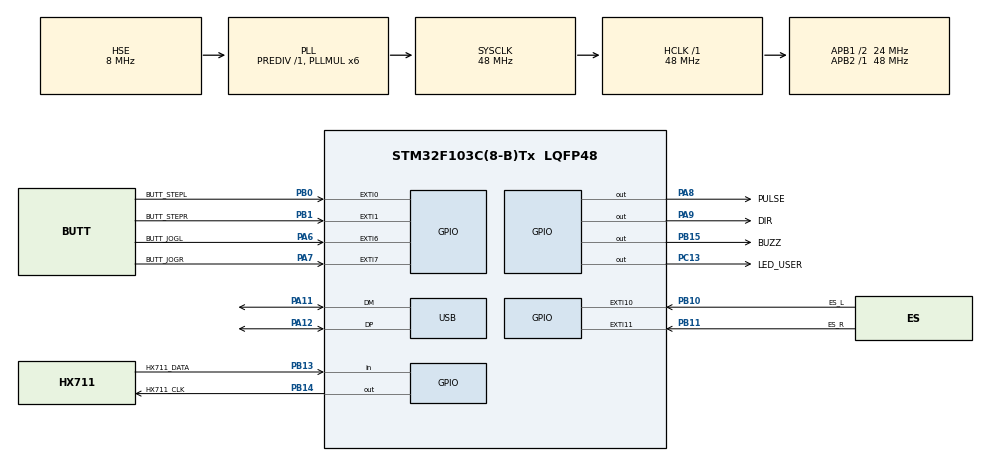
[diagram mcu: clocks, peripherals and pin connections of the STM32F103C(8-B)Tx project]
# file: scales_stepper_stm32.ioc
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Mcu.Family=STM32F1
Mcu.Name=STM32F103C(8-B)Tx
Mcu.Package=LQFP48
NVIC.EXTI0_IRQn=true\:10\:0\:true\:false\:true\:true\:true\:true
NVIC.EXTI15_10_IRQn=true\:5\:0\:true\:false\:true\:true\:true\:true
NVIC.EXTI1_IRQn=true\:10\:0\:true\:false\:true\:true\:true\:true
NVIC.EXTI9_5_IRQn=true\:15\:0\:true\:false\:true\:true\:true\:true
NVIC.PriorityGroup=NVIC_PRIORITYGROUP_4
NVIC.TIM1_UP_IRQn=true\:6\:0\:true\:false\:true\:true\:true\:true
NVIC.TIM3_IRQn=true\:1\:0\:true\:false\:true\:true\:true\:true
NVIC.USB_HP_CAN1_TX_IRQn=true\:0\:0\:true\:false\:true\:true\:true\:true
NVIC.USB_LP_CAN1_RX0_IRQn=true\:0\:0\:false\:false\:true\:false\:true\:true
PA11.Mode=Device
PA11.Signal=USB_DM
PA12.Mode=Device
PA12.Signal=USB_DP
PA13.Mode=Serial_Wire
PA13.Signal=SYS_JTMS-SWDIO
PA14.Mode=Serial_Wire
PA14.Signal=SYS_JTCK-SWCLK
PA6.GPIO_Label=BUTT_JOGL
PA6.GPIO_ModeDefaultEXTI=GPIO_MODE_IT_RISING_FALLING
PA6.GPIO_PuPd=GPIO_PULLUP
PA6.Signal=GPXTI6
PA7.GPIO_Label=BUTT_JOGR
PA7.GPIO_ModeDefaultEXTI=GPIO_MODE_IT_RISING_FALLING
PA7.GPIO_PuPd=GPIO_PULLUP
PA7.Signal=GPXTI7
PA8.GPIO_Label=PULSE
PA8.PinState=GPIO_PIN_SET
PA8.Signal=GPIO_Output
PA9.GPIO_Label=DIR
PA9.PinState=GPIO_PIN_SET
PA9.Signal=GPIO_Output
PB0.GPIO_Label=BUTT_STEPL
PB0.GPIO_ModeDefaultEXTI=GPIO_MODE_IT_FALLING
PB0.GPIO_PuPd=GPIO_PULLUP
PB0.Signal=GPXTI0
PB1.GPIO_Label=BUTT_STEPR
PB1.GPIO_ModeDefaultEXTI=GPIO_MODE_IT_FALLING
PB1.GPIO_PuPd=GPIO_PULLUP
PB1.Signal=GPXTI1
PB10.GPIO_Label=ES_L
PB10.GPIO_ModeDefaultEXTI=GPIO_MODE_IT_RISING_FALLING
PB10.GPIO_PuPd=GPIO_PULLUP
PB10.Signal=GPXTI10
PB11.GPIO_Label=ES_R
PB11.GPIO_ModeDefaultEXTI=GPIO_MODE_IT_RISING_FALLING
PB11.GPIO_PuPd=GPIO_PULLUP
PB11.Signal=GPXTI11
PB13.GPIO_Label=HX711_DATA
PB13.GPIO_PuPd=GPIO_PULLUP
PB13.Signal=GPIO_Input
PB14.GPIO_Label=HX711_CLK
PB14.Signal=GPIO_Output
PB15.GPIO_Label=BUZZ
PB15.PinState=GPIO_PIN_SET
PB15.Signal=GPIO_Output
PC13-TAMPER-RTC.GPIO_Label=LED_USER
PC13-TAMPER-RTC.Signal=GPIO_Output
PC14-OSC32_IN.Mode=LSE-External-Oscillator
PC14-OSC32_IN.Signal=RCC_OSC32_IN
PC15-OSC32_OUT.Mode=LSE-External-Oscillator
PC15-OSC32_OUT.Signal=RCC_OSC32_OUT
PD0-OSC_IN.Mode=HSE-External-Oscillator
PD0-OSC_IN.Signal=RCC_OSC_IN
PD1-OSC_OUT.Mode=HSE-External-Oscillator
PD1-OSC_OUT.Signal=RCC_OSC_OUT
ProjectManager.HeapSize=0x200
ProjectManager.StackSize=0x400
ProjectManager.TargetToolchain=Makefile
RCC.AHBFreq_Value=48000000
RCC.APB1CLKDivider=RCC_HCLK_DIV2
RCC.APB1Freq_Value=24000000
RCC.APB1TimFreq_Value=48000000
RCC.APB2Freq_Value=48000000
RCC.APB2TimFreq_Value=48000000
RCC.HCLKFreq_Value=48000000
RCC.PLLMUL=RCC_PLL_MUL6
RCC.SYSCLKFreq_VALUE=48000000
RCC.SYSCLKSource=RCC_SYSCLKSOURCE_PLLCLK
RCC.USBFreq_Value=48000000
TIM1.ClockDivision=TIM_CLOCKDIVISION_DIV4
TIM1.Period=65535
TIM1.Prescaler=47999
TIM1.TIM_MasterOutputTrigger=TIM_TRGO_UPDATE
TIM2.AutoReloadPreload=TIM_AUTORELOAD_PRELOAD_DISABLE
TIM2.Prescaler=47
TIM2.TIM_MasterOutputTrigger=TIM_TRGO_UPDATE
TIM3.ClockDivision=TIM_CLOCKDIVISION_DIV1
TIM3.Period=100
TIM3.Prescaler=47999
TIM3.TIM_MasterOutputTrigger=TIM_TRGO_UPDATE
USB_DEVICE.APP_RX_DATA_SIZE=128
USB_DEVICE.APP_TX_DATA_SIZE=128
USB_DEVICE.CLASS_NAME_FS=CDC
USB_DEVICE.VirtualMode=Cdc
USB_DEVICE.VirtualModeFS=Cdc_FS
VP_TIM1_VS_ClockSourceINT.Mode=Internal
VP_TIM1_VS_OPM.Mode=OPM_bit
VP_TIM2_VS_ClockSourceINT.Mode=Internal
VP_TIM3_VS_ClockSourceINT.Mode=Internal
VP_TIM3_VS_OPM.Mode=OPM_bit
VP_USB_DEVICE_VS_USB_DEVICE_CDC_FS.Mode=CDC_FS
board=custom

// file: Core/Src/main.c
/* USER CODE BEGIN Header */
/**
  ******************************************************************************
  * @file           : main.c
  * @brief          : Main program body
  ******************************************************************************
  * @attention
  *
  * Copyright (c) 2025 STMicroelectronics.
  * All rights reserved.
  *
  * This software is licensed under terms that can be found in the LICENSE file
  * in the root directory of this software component.
  * If no LICENSE file comes with this software, it is provided AS-IS.
  *
  ******************************************************************************
  */
/* USER CODE END Header */
#include "main.h"
#include "usb_device.h"

/* USER CODE BEGIN Includes */
#include "usb_device.h"
#include "usbd_cdc_if.h"
#include "stdarg.h"
#include "stdio.h"
#include <inttypes.h>
#include "eeprom.h"

/* USER CODE END Includes */

TIM_HandleTypeDef htim1;
TIM_HandleTypeDef htim2;
TIM_HandleTypeDef htim3;

/* USER CODE BEGIN PV */

//
typedef struct
{
  uint32_t spsmax;          //steps per seconds maximum
  uint32_t spsmin;          //steps per seconds minimum
  uint32_t spsps;           //steps per second per second
  uint32_t jogsteps;        //jog steps
  uint32_t ssteps;          //steps steps
  uint32_t spmm;            //steps per mm
  float spsmax2;            //
  float spsmin2;
  float spsps2;
  float jogsteps2;
  float ssteps2;
} storage_t;

//
typedef struct
{
 uint16_t lsb;
 uint16_t msb;
} addr32_t;

typedef struct
{
 int32_t big;
 uint32_t lit;
} tuple64;

volatile storage_t ee_data;

// define bitwises for semaphore
#define JOGL        0
#define JOGR        1
#define JOGSTEPL    2
#define JOGSTEPR    3
#define STEPL       4
#define STEPR       5
#define EL          6
#define ER          7
#define EE          8
#define JOGL_DB     9
#define JOGR_DB     10
#define JOGSTEPL_DB 11
#define JOGSTEPR_DB 12
#define STEPL_DB    13
#define STEPR_DB    14
#define EL_DB       15
#define ER_DB       16
#define EE_DB       17
#define IN_HOMING   18

//PIN JOGS
#define PIN_JOGL_RESET  (HAL_GPIO_ReadPin(BUTT_JOGL_GPIO_Port, BUTT_JOGL_Pin) == GPIO_PIN_RESET)
#define PIN_JOGL_SET    (HAL_GPIO_ReadPin(BUTT_JOGL_GPIO_Port, BUTT_JOGL_Pin) == GPIO_PIN_SET)
#define PIN_JOGR_RESET  (HAL_GPIO_ReadPin(BUTT_JOGR_GPIO_Port, BUTT_JOGR_Pin) == GPIO_PIN_RESET)
#define PIN_JOGR_SET    (HAL_GPIO_ReadPin(BUTT_JOGR_GPIO_Port, BUTT_JOGR_Pin) == GPIO_PIN_SET)

//PIN STEPS
#define PIN_STEPL_RESET (HAL_GPIO_ReadPin(BUTT_STEPL_GPIO_Port, BUTT_STEPL_Pin) == GPIO_PIN_RESET)
#define PIN_STEPL_SET   (HAL_GPIO_ReadPin(BUTT_STEPL_GPIO_Port, BUTT_STEPL_Pin) == GPIO_PIN_SET)
#define PIN_STEPR_RESET (HAL_GPIO_ReadPin(BUTT_STEPR_GPIO_Port, BUTT_STEPR_Pin) == GPIO_PIN_RESET)
#define PIN_STEPR_SET   (HAL_GPIO_ReadPin(BUTT_STEPR_GPIO_Port, BUTT_STEPR_Pin) == GPIO_PIN_SET)

//PIN E
#define PIN_EL_RESET    (HAL_GPIO_ReadPin(ES_L_GPIO_Port, ES_L_Pin) == GPIO_PIN_RESET)
#define PIN_EL_SET      (HAL_GPIO_ReadPin(ES_L_GPIO_Port, ES_L_Pin) == GPIO_PIN_SET)
#define PIN_ER_RESET    (HAL_GPIO_ReadPin(ES_R_GPIO_Port, ES_R_Pin) == GPIO_PIN_RESET)
#define PIN_ER_SET      (HAL_GPIO_ReadPin(ES_R_GPIO_Port, ES_R_Pin) == GPIO_PIN_SET)

//SEMAPHORES
#define SEM_EL          ((semaphore & (1 << EL)) > 0)
#define SEM_ER          ((semaphore & (1 << ER)) > 0)
#define SEM_JOGL        ((semaphore & (1 << JOGL)) > 0)
#define SEM_JOGR        ((semaphore & (1 << JOGR)) > 0)
#define SEM_JOGSTEPL    ((semaphore & (1 << JOGSTEPL)) > 0)
#define SEM_JOGSTEPR    ((semaphore & (1 << JOGSTEPR)) > 0)
#define SEM_STEPL       ((semaphore & (1 << STEPL)) > 0)
#define SEM_STEPR       ((semaphore & (1 << STEPR)) > 0)
#define SEM_IN_HOMING   ((semaphore & (1 << IN_HOMING)) > 0)

//DEBOUNCES
#define DB_JOGL         ((semaphore & (1 << JOGL_DB)) > 0)
#define DB_JOGR         ((semaphore & (1 << JOGR_DB)) > 0)
#define DB_STEPL        ((semaphore & (1 << STEPL_DB)) > 0)
#define DB_STEPR        ((semaphore & (1 << STEPR_DB)) > 0)
#define DB_EL           ((semaphore & (1 << EL_DB)) > 0)
#define DB_ER           ((semaphore & (1 << ER_DB)) > 0)
#define DB_EE           ((semaphore & (1 << EE_DB)) > 0)

//
#define pulsedur        50                  //puse duration in us
#define delayafterdir   50                  //delay after set direction pin and before first pulse to come

//
volatile int32_t abspos          = 9999;             // absolute position after homing below

//
volatile uint8_t cmdindex        = 0;                //
uint8_t cmd[16];                            //

//
uint8_t buffx[129];                         //TX buffer
uint8_t buffx2[129];                        //TX buffer for morse

//
int tmpret;                                 //
uint32_t debugonly      = 0;                //
uint8_t incdcprintf     = 0;                //

//
const unsigned char* morseCode[] = {
    ".-",               // A
    "-...",             // B
    "-.-.",             // C
    "-..",              // D
    ".",                // E
    "..-.",             // F
    "--.",              // G
    "....",             // H
    "..",               // I
    ".---",             // J
    "-.-",              // K
    ".-..",             // L
    "--",               // M
    "-.",               // N
    "---",              // O
    ".--.",             // P
    "--.-",             // Q
    ".-.",              // R
    "...",              // S
    "-",                // T
    "..-",              // U
    "...-",             // V
    ".--",              // W
    "-..-",             // X
    "-.--",             // Y
    "--..",             // Z
    0x00
};   //morse code from A to Z

//
CDCReceiveCharTypes rcs = RX_NOTCPLT;       //
echoTypes rcs2 = RX_ECHO_OFF;               //
inputTypes it = RX_NONE;                    //

//
uint16_t Status;                            // used in hal_unlock
uint16_t delay;                             //fixme. global for speed adjust during jog

//
uint32_t semaphore = 0;

/* USER CODE END PV */

void SystemClock_Config(void);
static void MX_GPIO_Init(void);
static void MX_TIM2_Init(void);
static void MX_TIM3_Init(void);
static void MX_TIM1_Init(void);
/* USER CODE BEGIN PFP */

//DECLARES
void Tim1Start();
void Tim1Stop();
void TIM1Callback();
void Tim3Start();
void Tim3Stop();
void delay_us(uint32_t us);
void delay_ms(uint32_t ms);
void dot();
void dash();
uint8_t morse(const char *format, ... );

//
void readVariables();

//
void TIM3Callback();
uint32_t JogRampUp(uint8_t dir, uint32_t steps_in, uint8_t jsmod);
uint32_t constvel(uint8_t dir, uint32_t steps_in, uint8_t jsmode);
void volatile_memset(volatile void *s, int c, size_t n);

// //
void volatile_memset(volatile void *s, int c, size_t n) {
    volatile unsigned char *p = (volatile unsigned char *)s;
    while (n-- > 0) {
        *p++ = (unsigned char)c;
    }
}

uint8_t morse(const char *format, ... )
{
    // BKPT;
    va_list ap;

    uint8_t result;
    uint8_t len;

    unsigned char lettInMorse[8];

    uint8_t pseudoASCII;

    volatile_memset(buffx2, 0, sizeof(buffx2));

    va_start(ap, format);
    result = vsprintf(buffx2, format, ap);
    va_end(ap);

    len = strlen((const char*)buffx2);

    // here

    uint8_t cnt2 = 0;

    while (buffx[cnt2] > 0)
    {
        //
        if ( buffx2[cnt2] == 0x00 ) {
            break;
        }
        //
        if ( ( buffx2[cnt2] > 90 ) | ( buffx2[cnt2] < 65 ) ) {
            BKPT;
            break;
        }

        pseudoASCII = buffx2[cnt2]-65;

        uint8_t cnt = 0;

        while (1) {
            if (pseudoASCII > 25) {
                cdcprintf("%02x:%02x\r\n", pseudoASCII, buffx2[cnt2]);
                BKPT;
            }
            lettInMorse[cnt] = morseCode[pseudoASCII][cnt];
            if (lettInMorse[cnt] == 0) {
                //BKPT;
                break;
            }
            if (lettInMorse[cnt] == '.') {
                dot();
            }
            if (lettInMorse[cnt] == '-') {
                dash();
            }
            cnt++;
        }
        delay_ms(160);
        cnt2++;
    }
    return result; //
}

void dot()
{
    HAL_GPIO_WritePin(BUZZ_GPIO_Port, BUZZ_Pin, GPIO_PIN_RESET);
    delay_ms(80);
    HAL_GPIO_WritePin(BUZZ_GPIO_Port, BUZZ_Pin, GPIO_PIN_SET);
    delay_ms(80);
}

void dash()
{
    HAL_GPIO_WritePin(BUZZ_GPIO_Port, BUZZ_Pin, GPIO_PIN_RESET);
    delay_ms(200);
    HAL_GPIO_WritePin(BUZZ_GPIO_Port, BUZZ_Pin, GPIO_PIN_SET);
    delay_ms(80);
}

//
uint8_t cdcprintf(const char *format, ... )
{
    uint8_t result = USBD_FAIL;

    if (incdcprintf == 1) {
        // BKPT;
        return result;
    }

    incdcprintf = 1;

    va_list ap;

    volatile_memset(buffx, 0, sizeof(buffx));

    int vsprintfResult;

    va_start(ap, format);
        vsprintfResult = vsprintf(buffx, format, ap);
        if ( vsprintfResult < 0 ) {
            BKPT;
        }
    va_end(ap);
    uint8_t len = strlen((const char*)buffx);

    while (result != USBD_OK) {
        result = CDC_Transmit_FS(buffx, (uint16_t)len);
    }

    incdcprintf = 0;
    return result; //
}

/* USER CODE END PFP */

/* USER CODE BEGIN 0 */

//reciprocal
uint32_t reci(uint16_t x) {
    if (x == 0) return 0xFFFFFFFF; // div by 0
    return 1000000 / x;
}

//
void delay_ms(uint32_t ms)
{
    while(ms-- > 0) {
        delay_us(800);
    }
}

// 1MHz = 1us resolution. 3us lag here
void delay_us(uint32_t us)
{
    //
    if ( us < 4 ) {
        us = 4;
    }
    //
    if ( us > 65534 ) {
        us = 65534;
    }
    //
    TIM2->CNT = 0;
    TIM2->ARR = 65535;
    __HAL_TIM_CLEAR_FLAG(&htim2, TIM_FLAG_UPDATE);

    HAL_StatusTypeDef stat;
    stat = HAL_TIM_Base_Start(&htim2);
    if (stat != 0) {
        cdcprintf("TE SEGA SI EBA MAMATA:%x\t%x\t%x\r\n", stat, TIM2->CNT, TIM2->ARR);
        BKPT;
    }
    while (TIM2->CNT < us);
    HAL_TIM_Base_Stop(&htim2);
}

// homing
void home()
{
    morse("V");
     uint32_t tmp_ee_data_spsps = ee_data.spsps;
     uint32_t tmp_ee_data_spsmax = ee_data.spsmax;
     uint32_t tmp_ee_data_spsmin = ee_data.spsmin;

     ee_data.spsps=80;
     ee_data.spsmax=200;
     ee_data.spsmin=80;

     while ( PIN_JOGL_RESET | PIN_JOGL_RESET ) {
        cdcprintf("RELEASE JOGL AND JOGR BUTTONS\r\n");
     }

     cdcprintf("THANK YOU!\r\n");
     morse("G");

     delay_us(65530);

     while (1) {
         if (SEM_EL) {
            JogRampUp(1,1, 2);
            delay_us(65530);
            if (!SEM_EL) {
                abspos=0;
                cdcprintf("HOMING COMPLETE\r\n");
                break;
            }
         }
         if (SEM_ER) {
            JogRampUp(0,65535, 2);
            constvel(0,100000, 2);
         }
         if ( PIN_JOGL_RESET | PIN_JOGR_RESET | PIN_STEPL_RESET | PIN_STEPR_RESET) {
             break;
         }
     }
     ee_data.spsps=tmp_ee_data_spsps;
     ee_data.spsmax=tmp_ee_data_spsmax;
     ee_data.spsmin=tmp_ee_data_spsmin;

     semaphore &= ~(1 << IN_HOMING);
     morse("Z");
}

// ramp up. jsmode 0 - jog, 1 - step
uint32_t JogRampUp(uint8_t dir, uint32_t steps_in, uint8_t jsmode)
{
     uint32_t stepscompleted = 0;

     // 0 = L, 1 = R GPIO_PIN_SET for L
    if (dir == 0) {
        HAL_GPIO_WritePin(DIR_GPIO_Port, DIR_Pin, GPIO_PIN_SET);
         if (SEM_EL) {
            return 0;
         }
    }
    if (dir == 1) {
        HAL_GPIO_WritePin(DIR_GPIO_Port, DIR_Pin, GPIO_PIN_RESET);
         if (SEM_ER) {
            return 0;
         }
    }
    cdcprintf("JRU0:%d\r\n", dir);

    delay_us(delayafterdir);

    uint32_t tmpsps = ee_data.spsmin * 100;
    int dsps = ee_data.spsmax-ee_data.spsmin;            //

    cdcprintf("JRU1:%d\r\n", dsps);

    // HAL_GPIO_WritePin(PULSE_GPIO_Port, PULSE_Pin, GPIO_PIN_SET);       //checkme. prevantive

    while( ( tmpsps < ee_data.spsmax*100 )
            & (steps_in > 0 ) )
    {
        if ( SEM_EL & (dir == 0) ) {
            break;
        }
        if ( SEM_ER & (dir == 1) ) {
            break;
        }
        if ( PIN_JOGL_SET & (dir == 0) & (jsmode == 0) ) {
            break;
        }
        if ( PIN_JOGR_SET & (dir == 1) & (jsmode == 0) ) {
            break;
        }

        int delay_in_us = reci(tmpsps/100);
        // if ( (debugonly++ % 30) == 0) {
        //     cdcprintf("WDO:%d:%uus\r\n", tmpsps/100, delay_in_us);
        // }

        HAL_GPIO_WritePin(PULSE_GPIO_Port, PULSE_Pin, GPIO_PIN_RESET);
        delay_us(pulsedur-3);       // 3us lag
        HAL_GPIO_WritePin(PULSE_GPIO_Port, PULSE_Pin, GPIO_PIN_SET);
        delay_us(delay_in_us-3);

        if ( (dir == 0) ) {
            abspos--;
        }
        if ( (dir == 1) ) {
            abspos++;
        }

        tmpsps+=ee_data.spsps;
        steps_in--;
        stepscompleted++;
    }

    cdcprintf("JRU2:%d:%d\r\n", steps_in, stepscompleted);      //remainng steps to complete - steps_in
    cdcprintf("JRU3:%08d\r\n", abspos);
    return stepscompleted;
}

// constant velocity routine. jsmode 0 - jog, 1 - step, 2 - homing
uint32_t constvel(uint8_t dir, uint32_t steps_in, uint8_t jsmode)
{
    uint32_t stepscompleted = 0;

    cdcprintf("CV0:%d\r\n", steps_in);

    uint32_t tmpsps = ee_data.spsmax * 100;

    cdcprintf("CV1:%d\r\n", tmpsps);

    while( steps_in > 0 )
    {
        //
        if ( SEM_EL ) {
            break;
        }
        //
        if ( SEM_ER ) {
            break;
        }
        //
        if ( PIN_JOGL_SET & (dir == 0) & (jsmode == 0) ) {
            break;
        }
        //
        if ( PIN_JOGR_SET & (dir == 1) & (jsmode == 0) ) {
            break;
        }

        int delay_in_us = reci(tmpsps/100);

        HAL_GPIO_WritePin(PULSE_GPIO_Port, PULSE_Pin, GPIO_PIN_RESET);
        delay_us(pulsedur-3);       // 3us lag

        HAL_GPIO_WritePin(PULSE_GPIO_Port, PULSE_Pin, GPIO_PIN_SET);
        delay_us(delay_in_us-3);

        if ( (dir == 0) ) {
            abspos--;
        }
        if ( (dir == 1) ) {
            abspos++;
        }

        steps_in--;
        stepscompleted++;
    }

    cdcprintf("CV2:%d:%d\r\n", steps_in, stepscompleted);
    cdcprintf("CV3:%08d\r\n", abspos);
    return stepscompleted;
}

// receiver of char via USB
void CDCReceiveChar(uint8_t* inchar)
{
    // cdcprintf("RX:%s", inchar);
    //long commands - overflow
    if (cmdindex >= 15) {
        cmdindex = 0;
        rcs = RX_OF;
        return;
    }
    //end of command - cr
    if (*inchar == 13) {
        // BKPT;
        cmdindex = 0;
        rcs = RX_CR;
        return;
    }

    //end of command - lf
    if (*inchar == 10) {
        cmdindex = 0;
        rcs = RX_CR;
        return;
    }

    //echo typing
    if (rcs2 == RX_ECHO_ON) {
        cdcprintf("%s", inchar);
    }

    cmd[cmdindex++] = *inchar;
}

// // print in terminal of I/o states
// void dumpIO()
// {
//     cdcprintf("-------%08d-------\r\n", debugonly++);
//     cdcprintf("Dump/set of IO\r\n");
//     cdcprintf("----------------------\r\n");
//     cdcprintf("JOGL (PA6)  : %d\r\n", HAL_GPIO_ReadPin(BUTT_JOGL_GPIO_Port, BUTT_JOGL_Pin));
//     cdcprintf("JOGR (PA7)  : %d\r\n", HAL_GPIO_ReadPin(BUTT_JOGR_GPIO_Port, BUTT_JOGR_Pin));
//     cdcprintf("STEPL (PB0) : %d\r\n", HAL_GPIO_ReadPin(BUTT_STEPL_GPIO_Port, BUTT_STEPL_Pin));
//     cdcprintf("STEPR (PB1) : %d\r\n", HAL_GPIO_ReadPin(BUTT_STEPR_GPIO_Port, BUTT_STEPR_Pin));
//     cdcprintf("ESL  (PB10) : %d\r\n", HAL_GPIO_ReadPin(ES_L_GPIO_Port, ES_L_Pin));
//     cdcprintf("ESR  (PB11) : %d\r\n", HAL_GPIO_ReadPin(ES_R_GPIO_Port, ES_R_Pin));
//     cdcprintf("----------------------\r\n");
// }

// print in terminal of eeprom and program variables
void dumpVars()
{
    readVariables();
    cdcprintf("----------%08d-----\r\n", debugonly++);
    cdcprintf("Dump of NVARS in EEPROM\r\n");
    cdcprintf("-----------------------\r\n");
    cdcprintf("spsmax.......: %d\r\n", ee_data.spsmax);
    cdcprintf("spsmin.......: %d\r\n", ee_data.spsmin);
    cdcprintf("spsps........: %d\r\n", ee_data.spsps);
    cdcprintf("jogsteps.....: %d\r\n", ee_data.jogsteps);
    cdcprintf("ssteps.......: %d\r\n", ee_data.ssteps);
    cdcprintf("-----------------------\r\n");
    cdcprintf("semaphore....:  %d\r\n", semaphore);
    cdcprintf("SEM_EL.......:  %d\r\n", SEM_EL);
    cdcprintf("SEM_ER.......:  %d\r\n", SEM_ER);
    cdcprintf("SEM_JOGL.....:  %d\r\n", SEM_JOGL);
    cdcprintf("SEM_JOGR.....:  %d\r\n", SEM_JOGR);
    cdcprintf("SEM_JOGSTEPL.:  %d\r\n", SEM_JOGSTEPL);
    cdcprintf("SEM_JOGSTEPR.:  %d\r\n", SEM_JOGSTEPR);
    cdcprintf("-----------------------\r\n");
    cdcprintf("DB_JOGL......:  %d\r\n", DB_JOGL);
    cdcprintf("DB_JOGR......:  %d\r\n", DB_JOGR);
    cdcprintf("DB_STEPL.....:  %d\r\n", DB_STEPL);
    cdcprintf("DB_STEPR.....:  %d\r\n", DB_STEPR);
    cdcprintf("DB_EL........:  %d\r\n", DB_EL);
    cdcprintf("DB_ER........:  %d\r\n", DB_ER);
    cdcprintf("DB_EE........:  %d\r\n", DB_EE);
    cdcprintf("-----------------------\r\n");
}

// print in terminal help screen
void help()
{
    cdcprintf("\r\n----------------------\r\n");
    cdcprintf("HELP with commands\r\n");
    cdcprintf("----------------------\r\n");
    cdcprintf("reset    : resets the system\r\n");
    cdcprintf("a        : input spsmax\r\n");
    cdcprintf("b        : input spsmin\r\n");
    cdcprintf("c        : input spsps\r\n");
    cdcprintf("d        : input jogsteps\r\n");
    cdcprintf("e        : input step steps\r\n");
    cdcprintf("help     : this help\r\n");
    cdcprintf("dump     : dump variables\r\n");
    cdcprintf("dumpio   : dump IO states\r\n");
    cdcprintf("----------------------\r\n");
    cdcprintf("STATUSES/RESULTS/MEANINGS\r\n");
    cdcprintf("----------------------\r\n");
    cdcprintf("OVERFLOW : input buffer full. input discarded\r\n");
    cdcprintf("POT      : power up times counter\r\n");
    cdcprintf("----------------------\r\n");
}

// write 32 bits in eeprom
uint16_t eewrite32(uint16_t VirtAddress, uint32_t Data) {
    uint32_t addr32 = VirtAddress*2;
    uint16_t status = FLASH_COMPLETE;

    uint16_t addrlsb =  addr32 & 0x0000ffff;
    uint16_t addrmsb =  (addr32 & 0xffff0000) >> 16;
    cdcprintf("addrlsb: 0x%x\r\n", addrlsb);
    cdcprintf("addrmsb: 0x%x\r\n", addrmsb);

    uint16_t datalsb =  Data & 0x0000ffff;
    uint16_t datamsb =  (Data & 0xffff0000) >> 16;
    cdcprintf("datalsb: 0x%x\r\n", datalsb);
    cdcprintf("datamsb: 0x%x\r\n", datamsb);

    if (status = EE_WriteVariable(addrlsb, datalsb) != FLASH_COMPLETE ) {
        cdcprintf("error during writing lsb: 0x%x\r\n", status);
        return status;
    }
    if (status = EE_WriteVariable(addrlsb+1, datamsb) != FLASH_COMPLETE ) {
        cdcprintf("error during writing msb: 0x%x\r\n", status);
        return status;
    }
    return status;      //not needed but...
}

// read 32 bits from eeprom
uint16_t eeread32(uint16_t VirtAddress, volatile uint32_t* Data) {   //smooker fixme. has to be uint32_t pointer ?!? will not work on bigger than 64kb ram size

    uint32_t addr32 = VirtAddress*2;
    uint16_t status = 0x99;     // 0-OK, 1-doesnotexist,0xab-no valid page, 0x99-mine ???

    addr32_t val;      //storage struct for pointer to the uint32_t variable

    uint16_t addrlsb =  addr32 & 0x0000ffff;
    uint16_t addrmsb =  (addr32 & 0xffff0000) >> 16;
    // cdcprintf("addrlsb: 0x%x\r\n", addrlsb);
    // cdcprintf("addrmsb: 0x%x\r\n", addrmsb);
    // uint16_t EE_ReadVariable(uint16_t VirtAddress, uint16_t* Data)

    if (status = EE_ReadVariable(addrlsb, &val.lsb) != 0 ) {
        cdcprintf("error during reading lsb: 0x%x\r\n", status);
        return status;
    }
    if (status = EE_ReadVariable(addrlsb+1, &val.msb) != 0 ) {
        cdcprintf("error during reading msb: 0x%x\r\n", status);
        return status;
    }

    *Data = (val.msb << 16) + (val.lsb);

    return status;      //not needed but...
}

// read all the variables from eeprom
void readVariables()
{
    uint16_t stat;
    if ( (stat = eeread32(1, &ee_data.spsmax)) != 0) {
        cdcprintf("spsmax read returned 0x%x\r\n", stat);
    }

    if ( (stat = eeread32(2, &ee_data.spsmin)) != 0) {
        cdcprintf("spsmin read returned 0x%x\r\n", stat);
    }

    if ( (stat = eeread32(3, &ee_data.spsps)) != 0) {
        cdcprintf("spsps read returned 0x%x\r\n", stat);
    }

    if ( (stat = eeread32(4, &ee_data.jogsteps)) != 0) {
        cdcprintf("jogsteps read returned 0x%x\r\n", stat);
    }

    if ( (stat = eeread32(5, &ee_data.ssteps)) != 0) {
        cdcprintf("ssteps read returned 0x%x\r\n", stat);
    }
}

// zero terminated string
tuple64 str2float(uint8_t* str)
{
    uint8_t flag = 0;
    uint8_t i = 0;

	uint8_t strl;

	tuple64 t;
	t.big=999999999;
	t.lit=999999999;

    char stro[2][11];
    volatile_memset(&stro[0], 0x00, sizeof(stro[0]));
	volatile_memset(&stro[1], 0x30, sizeof(stro[1]));
	stro[1][9] = 0x00;

	strl = strlen(str);
	if (strl > 19) {
		return t;	//error
	}

	//123456789.012345678
    while ( i < strl ) {
		if ( (( str[i] < '0' ) | ( str[i] > '9' )) & (( str[i] != '.' ) & ( str[i] != '-'  ))  ) {
			t.lit = 999999990;
			return t;
		}
        if ( str[i] == '.' ) {
            flag = i;
			i++;
            continue;
        }
		if ( ( i > 8 ) & ( flag == 0) ) {
			t.lit = 999999991;
			return t;
			//break;
		}
		if ( ( i > 16 ) & ( flag == 1) ) {
			t.lit = 999999992;
			return t;
			//break;
		}
        if (flag == 0) {
            stro[0][i] = str[i];
        }
        if (flag > 0) {
            stro[1][i-flag-1] = str[i];
        }
        i++;
    }
    t.big = atoi(stro[0]);
    t.lit = atoi(stro[1]);
	return t;
}

/* USER CODE END 0 */

int main(void)
{

  /* USER CODE BEGIN 1 */

    semaphore = 0;

  /* USER CODE END 1 */

  /* MCU Configuration--------------------------------------------------------*/

  /* Reset of all peripherals, Initializes the Flash interface and the Systick. */
  HAL_Init();

  /* Configure the system clock */
  SystemClock_Config();

  /* Initialize all configured peripherals */
  MX_GPIO_Init();
  MX_TIM2_Init();
  MX_USB_DEVICE_Init();
  MX_TIM3_Init();
  MX_TIM1_Init();
  /* USER CODE BEGIN 2 */

  // HAL_TIM_Base_Start(&htim2);
  HAL_Delay(1200);      //wait for USB reenumeration

  //boot pritnf
  volatile_memset(cmd, 0, sizeof(cmd));

  //
  cdcprintf("Malinovski 12.2025 (c) smooker&chichko %d \r\n");

  //
  HAL_TIM_RegisterCallback(&htim3, HAL_TIM_PERIOD_ELAPSED_CB_ID, TIM3Callback);
  HAL_TIM_RegisterCallback(&htim1, HAL_TIM_PERIOD_ELAPSED_CB_ID, TIM1Callback);

  //
  Status = HAL_FLASH_Unlock();      //fixme. move the same into ee_init and into ww_writevariable
  assert_param(Status == HAL_OK);
  if(Status != HAL_OK) {
    cdcprintf("HAL_FLASH_Unlock() returned %d\r\n", Status);
  };

  cdcprintf("EE_Init returned %d\r\n", EE_Init());

  // cdcprintf("HAL_GetUIDw0()=%lu\r\n", HAL_GetUIDw0());
  // cdcprintf("HAL_GetUIDw1()=%lu\r\n", HAL_GetUIDw1());
  // cdcprintf("HAL_GetUIDw2()=%lu\r\n", HAL_GetUIDw2());

  cdcprintf("HAL_GetDEVID=%lu\r\n", HAL_GetDEVID());
  //For medium-density devices, the device ID is 0x410

  cdcprintf("Flash size=%ukiB\r\n", *(const uint16_t*)FLASHSIZE_BASE);

  dumpVars();
  // dumpIO();

  // states of the outputs
  HAL_GPIO_WritePin(PULSE_GPIO_Port, PULSE_Pin, GPIO_PIN_SET);
  HAL_GPIO_WritePin(DIR_GPIO_Port, DIR_Pin, GPIO_PIN_SET);

  morse("VGZ");
  unsigned char* str = "-3.014159";
  tuple64 t = str2float((uint8_t*)str);
  BKPT;

  /* USER CODE END 2 */

  /* Infinite loop */
  /* USER CODE BEGIN WHILE */
  while (1)
  {
    //MOVEMENT COMMANDS

    if ( SEM_JOGL ) {
            // cdcprintf("JOGL\r\n");
            JogRampUp(0, 1000000, 0);
            constvel(0, 1000000, 0);
            semaphore &= ~( 1 << JOGL);
            // cdcprintf("JOGL END\r\n");
    }

    //JOGR - buttons to GND, limit switches too
    if ( SEM_JOGR ) {
        // cdcprintf("JOGR\r\n");
        JogRampUp(1, 1000000, 0);
        constvel(1, 1000000, 0);
        semaphore &= ~( 1 << JOGR);
        // cdcprintf("JOGR END\r\n");
    }

    if ( SEM_JOGSTEPL ) {
        // cdcprintf("JSL0\r\n");
        JogRampUp(0, ee_data.jogsteps, 0);
        semaphore &= ~( 1 << JOGSTEPL);
        // cdcprintf("JSL1\r\n");
    }

    if ( SEM_JOGSTEPR ) {
        // cdcprintf("JSR0\r\n");
        JogRampUp(1, ee_data.jogsteps, 0);
        semaphore &= ~( 1 << JOGSTEPR);
        // cdcprintf("JSR1\r\n");
    }

    if ( SEM_STEPL ) {
        // cdcprintf("STL0\r\n");
        uint32_t remsteps = JogRampUp(0, ee_data.ssteps, 1);
        uint32_t remsteps4rd = remsteps;
        remsteps = ee_data.ssteps - remsteps;
        constvel(0, remsteps, 1);

        semaphore &= ~( 1 << STEPL);
        // cdcprintf("STL1\r\n");
    }
    if ( SEM_STEPR ) {
        // cdcprintf("STR0\r\n");
        uint32_t remsteps = JogRampUp(1, ee_data.ssteps, 1);
        uint32_t remsteps4rd = remsteps;
        remsteps = ee_data.ssteps - remsteps;
        constvel(1, remsteps, 1);
        semaphore &= ~( 1 << STEPR);
        // cdcprintf("STR1\r\n");
    }

    if ( SEM_IN_HOMING ) {
        // cdcprintf("HOMING\r\n");
        home();
        semaphore &= ~( 1 << IN_HOMING);
        // cdcprintf("HOMING END\r\n");
    }

     //END OF MOVEMENTS

    if (rcs == RX_CR) {
        // we were in variable entry mode
        if (rcs2 == RX_ECHO_ON) {
            rcs2 = RX_ECHO_OFF;
            // parse variable values
            if (it == RX_VAR1) {
                tmpret = sscanf(cmd, "%" SCNd32, &ee_data.spsmax);
                cdcprintf(" spsmax value : %d\r\n", ee_data.spsmax);
                cdcprintf("ret  : %d\r\n", tmpret);
                eewrite32(1, ee_data.spsmax);
                eeread32(1, &ee_data.spsmax);
                cdcprintf(" spsmax value : %d\r\n", ee_data.spsmax);
            }
            if (it == RX_VAR1A) {
                int tmpret = sscanf(cmd, "%f", &ee_data.spsmax2);
                //checkme what sscanf returns
                cdcprintf("\r\n you typed: %s\r\n returned : %d\r\n spsmax nat: %f\r\n", cmd, tmpret, ee_data.spsmax2);
                cdcprintf("we get %08x\r\n", ee_data.spsmax2);
            }

            else if (it == RX_VAR2) {
                tmpret = sscanf(cmd, "%" SCNd32, &ee_data.spsmin);
                cdcprintf(" spsmin value : %d\r\n", ee_data.spsmin);
                cdcprintf("ret  : %d\r\n", tmpret);
                eewrite32(2, ee_data.spsmin);
                eeread32(2, &ee_data.spsmin);
                cdcprintf(" spsmin value : %d\r\n", ee_data.spsmin);
            }
            else if (it == RX_VAR3) {
                tmpret = sscanf(cmd, "%" SCNd32, &ee_data.spsps);
                cdcprintf(" spsps value : %d\r\n", ee_data.spsps);
                cdcprintf("ret  : %d\r\n", tmpret);
                eewrite32(3, ee_data.spsps);
                eeread32(3, &ee_data.spsps);
                cdcprintf(" spsps value : %d\r\n", ee_data.spsps);
            }
            else if (it == RX_VAR4) {
                tmpret = sscanf(cmd, "%" SCNd32, &ee_data.jogsteps);
                cdcprintf(" jogsteps value : %d\r\n", ee_data.jogsteps);
                cdcprintf("ret  : %d\r\n", tmpret);
                eewrite32(4, ee_data.jogsteps);
                eeread32(4, &ee_data.jogsteps);
                cdcprintf(" jogsteps value : %d\r\n", ee_data.jogsteps);
            }
            else if (it == RX_VAR5) {
                tmpret = sscanf(cmd, "%" SCNd32, &ee_data.ssteps);
                cdcprintf(" ssteps value : %d\r\n", ee_data.ssteps);
                cdcprintf("ret  : %d\r\n", tmpret);
                eewrite32(5, ee_data.ssteps);
                eeread32(5, &ee_data.ssteps);
                cdcprintf(" ssteps value : %d\r\n", ee_data.ssteps);
            }
            else {
                cdcprintf(" WHAT THE FUCK ?!\r\n", cmd);
            }
        }
        // parse commands
        else if (strcmp(cmd, "reset") == 0) {
            cdcprintf("RES:reset\r\n");
            NVIC_SystemReset();
        }
        // else if (strcmp(cmd, "home") == 0) {
        //     cdcprintf("RES:dump %s\r\n", cmd);
        //     home();
        // }
        else if (strcmp(cmd, "dump") == 0) {
            cdcprintf("RES:dump %s\r\n", cmd);
            dumpVars();
        }
        // else if (strcmp(cmd, "dumpio") == 0) {
        //     cdcprintf("RES:dumpio %s\r\n", cmd);
        //     dumpIO();
        // }
        // else if (strcmp(cmd, "help") == 0) {
        //     help();
        // }
        else if (strcmp(cmd,"a") == 0) {
            cdcprintf("enter value for spsmax:");
            rcs2 = RX_ECHO_ON;
            it = RX_VAR1;
        }
        else if (strcmp(cmd,"a1") == 0) {
            cdcprintf("enter value for spsmax in mm/s:");
            rcs2 = RX_ECHO_ON;
            it = RX_VAR1A;
        }
        else if (strcmp(cmd,"b") == 0) {
            cdcprintf("enter value for spsmin:");
            rcs2 = RX_ECHO_ON;
            it = RX_VAR2;
        }
        else if (strcmp(cmd,"c") == 0) {
            cdcprintf("enter value spsps:");
            rcs2 = RX_ECHO_ON;
            it = RX_VAR3;
        }
        else if (strcmp(cmd,"d") == 0) {
            cdcprintf("enter value jogsteps:");
            rcs2 = RX_ECHO_ON;
            it = RX_VAR4;
        }
        else if (strcmp(cmd,"e") == 0) {
            cdcprintf("enter value ssteps:");
            rcs2 = RX_ECHO_ON;
            it = RX_VAR5;
        }
        else {
            cdcprintf("RES: UNKNOWN COMMAND: %s\r\n", cmd);
        }
        volatile_memset(cmd, 0, sizeof(cmd));
        rcs = RX_NOTCPLT;      //reset status
    } else if (rcs == RX_OF) {
        cdcprintf("\r\nRES: OVERFLOW.\r\n");    //keep it smaller
        rcs2 = RX_ECHO_OFF;
        it = RX_NONE;
        volatile_memset(cmd, 0, sizeof(cmd));
    }

    /* USER CODE END WHILE */

  }
}

void SystemClock_Config(void)
{
  RCC_OscInitTypeDef RCC_OscInitStruct = {0};
  RCC_ClkInitTypeDef RCC_ClkInitStruct = {0};
  RCC_PeriphCLKInitTypeDef PeriphClkInit = {0};

  /** Initializes the RCC Oscillators according to the specified parameters
  * in the RCC_OscInitTypeDef structure.
  */
  RCC_OscInitStruct.OscillatorType = RCC_OSCILLATORTYPE_HSE;
  RCC_OscInitStruct.HSEState = RCC_HSE_ON;
  RCC_OscInitStruct.HSEPredivValue = RCC_HSE_PREDIV_DIV1;
  RCC_OscInitStruct.HSIState = RCC_HSI_ON;
  RCC_OscInitStruct.PLL.PLLState = RCC_PLL_ON;
  RCC_OscInitStruct.PLL.PLLSource = RCC_PLLSOURCE_HSE;
  RCC_OscInitStruct.PLL.PLLMUL = RCC_PLL_MUL6;
  if (HAL_RCC_OscConfig(&RCC_OscInitStruct) != HAL_OK)
  {
    Error_Handler();
  }

  /** Initializes the CPU, AHB and APB buses clocks
  */
  RCC_ClkInitStruct.ClockType = RCC_CLOCKTYPE_HCLK|RCC_CLOCKTYPE_SYSCLK
                              |RCC_CLOCKTYPE_PCLK1|RCC_CLOCKTYPE_PCLK2;
  RCC_ClkInitStruct.SYSCLKSource = RCC_SYSCLKSOURCE_PLLCLK;
  RCC_ClkInitStruct.AHBCLKDivider = RCC_SYSCLK_DIV1;
  RCC_ClkInitStruct.APB1CLKDivider = RCC_HCLK_DIV2;
  RCC_ClkInitStruct.APB2CLKDivider = RCC_HCLK_DIV1;

  if (HAL_RCC_ClockConfig(&RCC_ClkInitStruct, FLASH_LATENCY_1) != HAL_OK)
  {
    Error_Handler();
  }
  PeriphClkInit.PeriphClockSelection = RCC_PERIPHCLK_USB;
  PeriphClkInit.UsbClockSelection = RCC_USBCLKSOURCE_PLL;
  if (HAL_RCCEx_PeriphCLKConfig(&PeriphClkInit) != HAL_OK)
  {
    Error_Handler();
  }
}

static void MX_TIM1_Init(void)
{

  TIM_ClockConfigTypeDef sClockSourceConfig = {0};
  TIM_MasterConfigTypeDef sMasterConfig = {0};

  htim1.Instance = TIM1;
  htim1.Init.Prescaler = 47999;
  htim1.Init.CounterMode = TIM_COUNTERMODE_UP;
  htim1.Init.Period = 65535;
  htim1.Init.ClockDivision = TIM_CLOCKDIVISION_DIV4;
  htim1.Init.RepetitionCounter = 0;
  htim1.Init.AutoReloadPreload = TIM_AUTORELOAD_PRELOAD_DISABLE;
  if (HAL_TIM_Base_Init(&htim1) != HAL_OK)
  {
    Error_Handler();
  }
  sClockSourceConfig.ClockSource = TIM_CLOCKSOURCE_INTERNAL;
  if (HAL_TIM_ConfigClockSource(&htim1, &sClockSourceConfig) != HAL_OK)
  {
    Error_Handler();
  }
  if (HAL_TIM_OnePulse_Init(&htim1, TIM_OPMODE_SINGLE) != HAL_OK)
  {
    Error_Handler();
  }
  sMasterConfig.MasterOutputTrigger = TIM_TRGO_UPDATE;
  sMasterConfig.MasterSlaveMode = TIM_MASTERSLAVEMODE_DISABLE;
  if (HAL_TIMEx_MasterConfigSynchronization(&htim1, &sMasterConfig) != HAL_OK)
  {
    Error_Handler();
  }

}

static void MX_TIM2_Init(void)
{

  TIM_ClockConfigTypeDef sClockSourceConfig = {0};
  TIM_MasterConfigTypeDef sMasterConfig = {0};

  /* USER CODE BEGIN TIM2_Init 1 */
    //1uS perdiod 48Mhz sysclk/48=1Mhz
  /* USER CODE END TIM2_Init 1 */
  htim2.Instance = TIM2;
  htim2.Init.Prescaler = 47;
  htim2.Init.CounterMode = TIM_COUNTERMODE_UP;
  htim2.Init.Period = 65535;
  htim2.Init.ClockDivision = TIM_CLOCKDIVISION_DIV1;
  htim2.Init.AutoReloadPreload = TIM_AUTORELOAD_PRELOAD_DISABLE;
  if (HAL_TIM_Base_Init(&htim2) != HAL_OK)
  {
    Error_Handler();
  }
  sClockSourceConfig.ClockSource = TIM_CLOCKSOURCE_INTERNAL;
  if (HAL_TIM_ConfigClockSource(&htim2, &sClockSourceConfig) != HAL_OK)
  {
    Error_Handler();
  }
  sMasterConfig.MasterOutputTrigger = TIM_TRGO_UPDATE;
  sMasterConfig.MasterSlaveMode = TIM_MASTERSLAVEMODE_DISABLE;
  if (HAL_TIMEx_MasterConfigSynchronization(&htim2, &sMasterConfig) != HAL_OK)
  {
    Error_Handler();
  }

}

static void MX_TIM3_Init(void)
{

  TIM_ClockConfigTypeDef sClockSourceConfig = {0};
  TIM_MasterConfigTypeDef sMasterConfig = {0};

  htim3.Instance = TIM3;
  htim3.Init.Prescaler = 47999;
  htim3.Init.CounterMode = TIM_COUNTERMODE_UP;
  htim3.Init.Period = 100;
  htim3.Init.ClockDivision = TIM_CLOCKDIVISION_DIV1;
  htim3.Init.AutoReloadPreload = TIM_AUTORELOAD_PRELOAD_DISABLE;
  if (HAL_TIM_Base_Init(&htim3) != HAL_OK)
  {
    Error_Handler();
  }
  sClockSourceConfig.ClockSource = TIM_CLOCKSOURCE_INTERNAL;
  if (HAL_TIM_ConfigClockSource(&htim3, &sClockSourceConfig) != HAL_OK)
  {
    Error_Handler();
  }
  if (HAL_TIM_OnePulse_Init(&htim3, TIM_OPMODE_SINGLE) != HAL_OK)
  {
    Error_Handler();
  }
  sMasterConfig.MasterOutputTrigger = TIM_TRGO_UPDATE;
  sMasterConfig.MasterSlaveMode = TIM_MASTERSLAVEMODE_DISABLE;
  if (HAL_TIMEx_MasterConfigSynchronization(&htim3, &sMasterConfig) != HAL_OK)
  {
    Error_Handler();
  }

}

static void MX_GPIO_Init(void)
{
  GPIO_InitTypeDef GPIO_InitStruct = {0};

  /* GPIO Ports Clock Enable */
  __HAL_RCC_GPIOC_CLK_ENABLE();
  __HAL_RCC_GPIOD_CLK_ENABLE();
  __HAL_RCC_GPIOA_CLK_ENABLE();
  __HAL_RCC_GPIOB_CLK_ENABLE();

  /*Configure GPIO pin Output Level */
  HAL_GPIO_WritePin(LED_USER_GPIO_Port, LED_USER_Pin, GPIO_PIN_RESET);

  /*Configure GPIO pin Output Level */
  HAL_GPIO_WritePin(HX711_CLK_GPIO_Port, HX711_CLK_Pin, GPIO_PIN_RESET);

  /*Configure GPIO pin Output Level */
  HAL_GPIO_WritePin(BUZZ_GPIO_Port, BUZZ_Pin, GPIO_PIN_SET);

  /*Configure GPIO pin Output Level */
  HAL_GPIO_WritePin(GPIOA, PULSE_Pin|DIR_Pin, GPIO_PIN_SET);

  /*Configure GPIO pin : LED_USER_Pin */
  GPIO_InitStruct.Pin = LED_USER_Pin;
  GPIO_InitStruct.Mode = GPIO_MODE_OUTPUT_PP;
  GPIO_InitStruct.Pull = GPIO_NOPULL;
  GPIO_InitStruct.Speed = GPIO_SPEED_FREQ_LOW;
  HAL_GPIO_Init(LED_USER_GPIO_Port, &GPIO_InitStruct);

  /*Configure GPIO pins : BUTT_JOGL_Pin BUTT_JOGR_Pin */
  GPIO_InitStruct.Pin = BUTT_JOGL_Pin|BUTT_JOGR_Pin;
  GPIO_InitStruct.Mode = GPIO_MODE_IT_RISING_FALLING;
  GPIO_InitStruct.Pull = GPIO_PULLUP;
  HAL_GPIO_Init(GPIOA, &GPIO_InitStruct);

  /*Configure GPIO pins : BUTT_STEPL_Pin BUTT_STEPR_Pin */
  GPIO_InitStruct.Pin = BUTT_STEPL_Pin|BUTT_STEPR_Pin;
  GPIO_InitStruct.Mode = GPIO_MODE_IT_FALLING;
  GPIO_InitStruct.Pull = GPIO_PULLUP;
  HAL_GPIO_Init(GPIOB, &GPIO_InitStruct);

  /*Configure GPIO pins : ES_L_Pin ES_R_Pin */
  GPIO_InitStruct.Pin = ES_L_Pin|ES_R_Pin;
  GPIO_InitStruct.Mode = GPIO_MODE_IT_RISING_FALLING;
  GPIO_InitStruct.Pull = GPIO_PULLUP;
  HAL_GPIO_Init(GPIOB, &GPIO_InitStruct);

  /*Configure GPIO pin : HX711_DATA_Pin */
  GPIO_InitStruct.Pin = HX711_DATA_Pin;
  GPIO_InitStruct.Mode = GPIO_MODE_INPUT;
  GPIO_InitStruct.Pull = GPIO_PULLUP;
  HAL_GPIO_Init(HX711_DATA_GPIO_Port, &GPIO_InitStruct);

  /*Configure GPIO pins : HX711_CLK_Pin BUZZ_Pin */
  GPIO_InitStruct.Pin = HX711_CLK_Pin|BUZZ_Pin;
  GPIO_InitStruct.Mode = GPIO_MODE_OUTPUT_PP;
  GPIO_InitStruct.Pull = GPIO_NOPULL;
  GPIO_InitStruct.Speed = GPIO_SPEED_FREQ_LOW;
  HAL_GPIO_Init(GPIOB, &GPIO_InitStruct);

  /*Configure GPIO pins : PULSE_Pin DIR_Pin */
  GPIO_InitStruct.Pin = PULSE_Pin|DIR_Pin;
  GPIO_InitStruct.Mode = GPIO_MODE_OUTPUT_PP;
  GPIO_InitStruct.Pull = GPIO_NOPULL;
  GPIO_InitStruct.Speed = GPIO_SPEED_FREQ_LOW;
  HAL_GPIO_Init(GPIOA, &GPIO_InitStruct);

  /* EXTI interrupt init*/
  HAL_NVIC_SetPriority(EXTI0_IRQn, 10, 0);
  HAL_NVIC_EnableIRQ(EXTI0_IRQn);

  HAL_NVIC_SetPriority(EXTI1_IRQn, 10, 0);
  HAL_NVIC_EnableIRQ(EXTI1_IRQn);

  HAL_NVIC_SetPriority(EXTI9_5_IRQn, 15, 0);
  HAL_NVIC_EnableIRQ(EXTI9_5_IRQn);

  HAL_NVIC_SetPriority(EXTI15_10_IRQn, 5, 0);
  HAL_NVIC_EnableIRQ(EXTI15_10_IRQn);

}

/* USER CODE BEGIN 4 */
void HAL_GPIO_EXTI_Callback(uint16_t GPIO_Pin)
{
  // cdcprintf("EXTI %04x\r\n", GPIO_Pin);

  //EL pin handling
  if( PIN_EL_RESET & (GPIO_Pin == GPIO_PIN_10) ) {
    // cdcprintf("EL0\r\n");
    semaphore |= (1 << EL);
    semaphore &= ~((1 << JOGL) | (1 << JOGSTEPL) | (1 << STEPL) | (1 << JOGL_DB) | (1 << STEPL_DB));
    cdcprintf("EL@%08d\r\n", abspos);
  }
  if( PIN_EL_SET & (GPIO_Pin == GPIO_PIN_10) ) {
    // cdcprintf("EL1\r\n");
    semaphore &= ~(1 << EL);
  }

  //ER pin handling
  if( PIN_ER_RESET & (GPIO_Pin == GPIO_PIN_11) ) {
    cdcprintf("ER@%08d\r\n", abspos);
    // cdcprintf("ER0\r\n");
    semaphore |= (1 << ER);
    semaphore &= ~((1 << JOGR) | (1 << JOGSTEPR) | (1 << STEPR) | (1 << JOGR_DB) | (1 << STEPR_DB));
  }
  if( PIN_ER_SET & (GPIO_Pin == GPIO_PIN_11) ) {
    // cdcprintf("ER1\r\n");
    semaphore &= ~(1 << ER);
  }

  //EL forbids L MOVEMENT
  if ( SEM_EL ) {
    // cdcprintf("SEM_EL\r\n");
    semaphore &= ~((1 << JOGSTEPL) | (1 << JOGL) | (1 << STEPL));
  }
  //ER forbids R MOVEMENT
  if ( SEM_ER ) {
    // cdcprintf("SEM_ER\r\n");
    semaphore &= ~((1 << JOGSTEPR) | (1 << JOGR) | (1 << STEPR));
  }

  // if we are in debouncing skip other events
  if ( (semaphore & ((1 << JOGL_DB) |  (1 << JOGR_DB)) ) ) {
    return;
  }

  // JOG LEFT button pressed
  if( PIN_JOGL_RESET & (GPIO_Pin == GPIO_PIN_6) & !SEM_JOGR & !SEM_JOGSTEPR & !SEM_STEPR & !DB_JOGL & !PIN_EL_RESET) {
    if (!SEM_EL) {
        cdcprintf("JL0\r\n");
        semaphore |= (1 << JOGL_DB);
        semaphore &= ~( (1 << JOGR_DB) );
        Tim3Start();
    }
    return;
  }

  // JOG LEFT button released
  if( PIN_JOGL_SET & (GPIO_Pin == GPIO_PIN_6) ) {
    cdcprintf("JL1\r\n");
  }

  // JOG RIGHT button pressed
  if( PIN_JOGR_RESET & (GPIO_Pin == GPIO_PIN_7) & !SEM_JOGL & !SEM_JOGSTEPL & !SEM_STEPL & !DB_JOGR & !PIN_ER_RESET) {
    if (!SEM_ER) {
        cdcprintf("JR0\r\n");
        semaphore |= (1 << JOGR_DB);
        semaphore &= ~( (1 << JOGL_DB) );
        Tim3Start();
    }
    return;
  }

  // JOG RIGHT button released
  if( PIN_JOGR_SET & (GPIO_Pin == GPIO_PIN_7) ) {
    cdcprintf("JR1\r\n");
  }

  // STEP LEFT button pressed
  if( PIN_STEPL_RESET & (GPIO_Pin == GPIO_PIN_0) & !SEM_JOGR & !SEM_JOGSTEPR & !SEM_STEPR & !DB_JOGL & !PIN_EL_RESET ) {
    cdcprintf("SL0\r\n");
    semaphore |= (1 << STEPL);
    Tim3Start();
  }

  // STEP RIGHT button pressed
  if( PIN_STEPR_RESET & (GPIO_Pin == GPIO_PIN_1) & !SEM_JOGL & !SEM_JOGSTEPL & !SEM_STEPL & !DB_JOGR & !PIN_ER_RESET ) {
    cdcprintf("SR0\r\n");
    semaphore |= (1 << STEPR);
    Tim3Start();
  }
}

//
void Tim3Start() {
  cdcprintf("T3S\r\n");
  __HAL_TIM_CLEAR_IT(&htim3, TIM_IT_UPDATE);
  htim3.Instance->ARR=20; //20ms
  htim1.Instance->CNT=0;
  __HAL_TIM_ENABLE_IT(&htim3,TIM_IT_UPDATE);
  __HAL_TIM_ENABLE(&htim3);
}
//
void Tim3Stop() {
  cdcprintf("T3P\r\n");
  __HAL_TIM_CLEAR_IT(&htim3, TIM_IT_UPDATE);
  htim3.Instance->ARR=0;
  htim1.Instance->CNT=0;
  __HAL_TIM_DISABLE_IT(&htim3,TIM_IT_UPDATE);
  __HAL_TIM_DISABLE(&htim3);
}

//
void Tim1Start() {
  cdcprintf("T1S\r\n");
    __HAL_TIM_CLEAR_IT(&htim1, TIM_IT_UPDATE);
    htim1.Instance->ARR=300;    //1000ms
    htim1.Instance->CNT=0;
    __HAL_TIM_ENABLE_IT(&htim1,TIM_IT_UPDATE);
    __HAL_TIM_ENABLE(&htim1);
}
//
void Tim1Stop() {
    cdcprintf("T1P\r\n");
    __HAL_TIM_CLEAR_IT(&htim1, TIM_IT_UPDATE);
    htim1.Instance->ARR=0;
    htim1.Instance->CNT=0;
    __HAL_TIM_DISABLE_IT(&htim1,TIM_IT_UPDATE);
    __HAL_TIM_DISABLE(&htim1);
}

void TIM1Callback()
{
  HAL_GPIO_TogglePin(LED_USER_GPIO_Port, LED_USER_Pin);
  cdcprintf("TIM1 fired:0x%08x\r\n", debugonly++);
  HAL_GPIO_TogglePin(LED_USER_GPIO_Port, LED_USER_Pin);

  if ( !DB_JOGL & !DB_JOGR & PIN_JOGL_RESET & PIN_JOGR_RESET) {
    cdcprintf("HOME0\r\n");
    semaphore |= (1 << IN_HOMING);
    return;
  }

  if ( !DB_JOGL & PIN_JOGL_RESET ) {
    cdcprintf("JLT10\r\n");
    semaphore |= (1 << JOGL);
  }
  if ( !DB_JOGR & PIN_JOGR_RESET ) {
    cdcprintf("JRT10\r\n");          //da pravim step 1mm
    semaphore |= (1 << JOGR);       //
  }
}

// buttons  release handling
void TIM3Callback()
{
  cdcprintf("T3:%08x\r\n", semaphore);
  //JOG LEFT
  if ( DB_JOGL ) {            // v process na debounce-vame se
    if ( PIN_JOGL_RESET ) {
        cdcprintf("JLT0\r\n");          //da pravim step 1mm
        semaphore |= (1 << JOGSTEPL);
        Tim1Start();
    }
    if ( PIN_JOGL_SET ) {
        cdcprintf("JLT1\r\n");
        semaphore &= ~((1 << JOGL) | (1 << JOGSTEPL));      //release JOGs flags
        Tim1Stop();
    }
    semaphore &= ~(1 << JOGL_DB);                // svaliame debouncinga
    return;
  }

  //JOG RIGHT
  if ( DB_JOGR ) {            // v process na debounce-vame se
    if ( PIN_JOGR_RESET ) {
        cdcprintf("JRT0\r\n");          //da pravim step 1mm
        semaphore |= (1 << JOGSTEPR);
        Tim1Start();                    //
    }
    if ( PIN_JOGR_SET ) {
        cdcprintf("JRT1\r\n");
        semaphore &= ~((1 << JOGR) | (1 << JOGSTEPR));      //release JOGs flags
        Tim1Stop();
    }
    semaphore &= ~(1 << JOGR_DB);                // svaliame debouncinga
  }

  //STEP LEFT
  if ( DB_STEPL ) {            // v process na debounce-vame se
    if ( PIN_STEPL_RESET ) {
        cdcprintf("SLT0\r\n");          //da pravim step 1mm
        semaphore |= (1 << STEPL);
        semaphore &= ~( (1 << JOGL) | (1 << JOGSTEPL) );
        Tim1Start();
    }
    if ( PIN_STEPL_SET ) {
        cdcprintf("SLT1\r\n");
        semaphore &= ~( (1 << JOGL) | (1 << JOGSTEPL) | (1 << STEPL) );      //release JOGs flags
        Tim1Stop();
    }
  }

  //STEP RIGHT
  if ( DB_STEPR ) {            // v process na debounce-vame se
    if ( PIN_STEPR_RESET ) {
        cdcprintf("SRT0\r\n");          //da pravim step 1mm
        semaphore |= (1 << STEPR);
        semaphore &= ~( (1 << JOGR) | (1 << JOGSTEPR) );
        Tim1Start();
    }
    if ( PIN_STEPR_SET ) {
        cdcprintf("SRT1\r\n");
        semaphore &= ~( (1 << JOGR) | (1 << JOGSTEPR) | (1 << STEPR) );      //release JOGs flags
        Tim1Stop();
    }
  }

  // svaliame vsichki debounce-ta
  semaphore &= ~( (1 << DB_JOGL) |  (1 << DB_STEPL) | (1 << DB_JOGR) | (1 << DB_STEPR) );

  return;
}

/* USER CODE END 4 */

void Error_Handler(void)
{
  __disable_irq();
  while (1)
  {
  }
}
